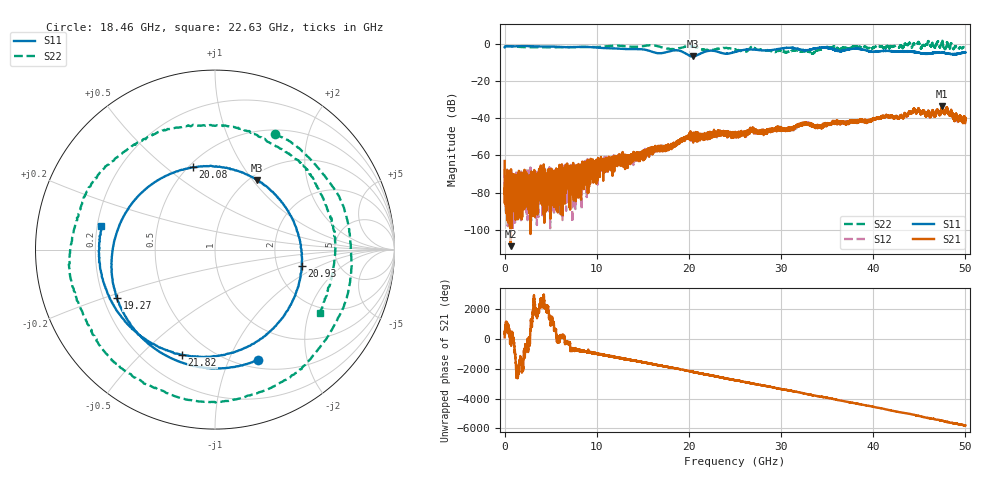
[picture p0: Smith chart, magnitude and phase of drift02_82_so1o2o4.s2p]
!Created with skrf (http://scikit-rf.org).
# Hz S RI R 50.0
!freq ReS11 ImS11 ReS21 ImS21 ReS12 ImS12 ReS22 ImS22
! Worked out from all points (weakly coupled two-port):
!   10001 points, 300 kHz to 50 GHz, reference 50 ohm
!   highest |S21| = -33.61 dB at 47.48 GHz (marker M1); lowest = -108.8 dB at 660.3 MHz (marker M2)
!   lowest |S11| = -6.9 dB at 20.41 GHz (marker M3), VSWR 2.64, Z = 54.2 + j52.4 ohm
!   |S11| at or under -10 dB: nowhere
!   |S22| runs from -5.3 to 1.7 dB; largest |S21 - S12| = 0.0035
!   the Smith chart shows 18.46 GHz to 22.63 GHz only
!   S11 on the Smith chart (normalised r, x): 18.46 GHz: 0.59, -1.28; 19.27 GHz: 0.25, -0.22; 20.08 GHz: 0.53, +0.62; 20.93 GHz: 2.76, -0.66; 21.82 GHz: 0.36, -0.67; 22.63 GHz: 0.22, +0.10
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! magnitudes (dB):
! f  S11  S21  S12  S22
! 300 kHz  -2.1  -63.0  -67.4  -1.3
! 255.3 MHz  -1.4  -75.6  -88.0  -1.4
! 660.3 MHz  -1.5  -108.8  -75.9  -1.4
! 3.485 GHz  -1.5  -71.3  -75.5  -2.0
! 3.995 GHz  -1.5  -70.5  -82.1  -1.9
! 4.5 GHz  -1.6  -69.8  -85.4  -2.0
! 8.335 GHz  -1.7  -66.9  -69.6  -1.9
! 16.67 GHz  -5.2  -57.7  -56.5  -1.4
! 18.46 GHz  -3.6  -54.3  -53.8  -2.8
! 19.27 GHz  -4.3  -51.5  -51.9  -2.1
! 20.08 GHz  -6.5  -47.9  -49.6  -1.5
! 20.41 GHz  -6.9  -49.7  -51.1  -1.7
! 20.93 GHz  -6.1  -49.2  -49.2  -2.2
! 21.82 GHz  -4.2  -49.8  -50.9  -3.5
! 22.63 GHz  -3.8  -49.6  -49.0  -3.3
! 25 GHz  -4.5  -49.2  -48.3  -3.2
! 26.9 GHz  -3.2  -46.1  -46.9  -1.7
! 33.34 GHz  -3.0  -44.2  -43.8  -5.2
! 34.89 GHz  -2.2  -43.3  -43.7  -2.2
! 41.67 GHz  -3.9  -39.6  -39.1  -2.2
! 47.48 GHz  -4.8  -33.6  -33.7  1.6
! 50 GHz  -4.7  -40.2  -40.9  -1.6
